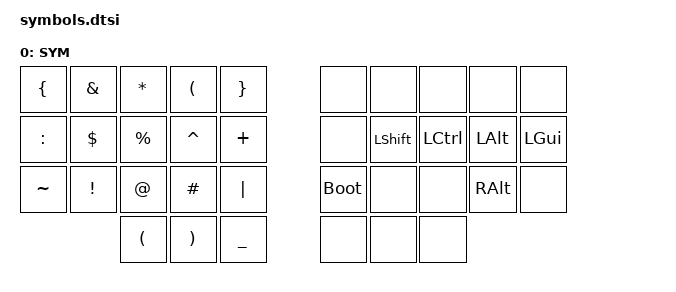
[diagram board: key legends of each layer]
/ {
	keymap {
        compatible = "zmk,keymap";
		
        symbols_layer {
			label = "SYM";
			bindings = <
                &kp LBRC    &kp AMPS    &kp ASTRK   &kp LPAR    &kp RBRC    &none       &none       &none       &none       &none
                &kp COLON   &kp DLLR    &kp PRCNT   &kp CARET   &kp PLUS    &none       &kp LSHFT   &kp LCTL    &kp LALT    &kp LGUI
                &kp TILDE   &kp EXCL    &kp AT      &kp HASH    &kp PIPE    &bootloader &none       &none       &kp RALT    &none 
                                        &kp LPAR    &kp RPAR    &kp UNDER   &none       &none       &none
			>;
		};	
	};
};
